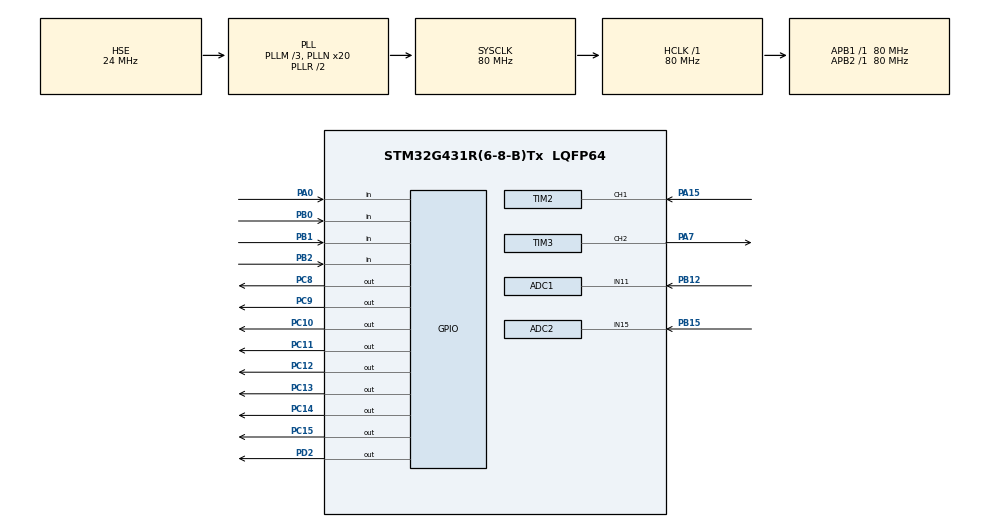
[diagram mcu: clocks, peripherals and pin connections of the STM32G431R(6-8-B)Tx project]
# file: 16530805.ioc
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ADC1.Channel-0\#ChannelRegularConversion=ADC_CHANNEL_11
ADC1.NbrOfConversionFlag=1
ADC1.OffsetNumber-0\#ChannelRegularConversion=ADC_OFFSET_NONE
ADC1.Rank-0\#ChannelRegularConversion=1
ADC1.SamplingTime-0\#ChannelRegularConversion=ADC_SAMPLETIME_2CYCLES_5
ADC1.master=1
ADC2.Channel-0\#ChannelRegularConversion=ADC_CHANNEL_15
ADC2.NbrOfConversionFlag=1
ADC2.OffsetNumber-0\#ChannelRegularConversion=ADC_OFFSET_NONE
ADC2.Rank-0\#ChannelRegularConversion=1
ADC2.SamplingTime-0\#ChannelRegularConversion=ADC_SAMPLETIME_2CYCLES_5
Mcu.Family=STM32G4
Mcu.Name=STM32G431R(6-8-B)Tx
Mcu.Package=LQFP64
NVIC.PriorityGroup=NVIC_PRIORITYGROUP_4
NVIC.TIM2_IRQn=true\:1\:0\:true\:false\:true\:true\:true\:true
PA0.GPIO_Mode=GPIO_MODE_INPUT
PA0.GPIO_PuPd=GPIO_NOPULL
PA0.Signal=GPIO_Input
PA13.Mode=Serial_Wire
PA13.Signal=SYS_JTMS-SWDIO
PA14.Mode=Serial_Wire
PA14.Signal=SYS_JTCK-SWCLK
PA15.Signal=S_TIM2_CH1
PA7.Signal=S_TIM3_CH2
PB0.GPIO_Mode=GPIO_MODE_INPUT
PB0.GPIO_PuPd=GPIO_NOPULL
PB0.Signal=GPIO_Input
PB1.GPIO_Mode=GPIO_MODE_INPUT
PB1.GPIO_PuPd=GPIO_NOPULL
PB1.Signal=GPIO_Input
PB12.Mode=IN11-Single-Ended
PB12.Signal=ADC1_IN11
PB15.Mode=IN15-Single-Ended
PB15.Signal=ADC2_IN15
PB2.GPIO_Mode=GPIO_MODE_INPUT
PB2.GPIO_PuPd=GPIO_NOPULL
PB2.Signal=GPIO_Input
PC10.GPIO_ModeDefaultOutputPP=GPIO_MODE_OUTPUT_PP
PC10.GPIO_PuPd=GPIO_NOPULL
PC10.GPIO_Speed=GPIO_SPEED_FREQ_LOW
PC10.PinState=GPIO_PIN_SET
PC10.Signal=GPIO_Output
PC11.GPIO_ModeDefaultOutputPP=GPIO_MODE_OUTPUT_PP
PC11.GPIO_PuPd=GPIO_NOPULL
PC11.GPIO_Speed=GPIO_SPEED_FREQ_LOW
PC11.PinState=GPIO_PIN_SET
PC11.Signal=GPIO_Output
PC12.GPIO_ModeDefaultOutputPP=GPIO_MODE_OUTPUT_PP
PC12.GPIO_PuPd=GPIO_NOPULL
PC12.GPIO_Speed=GPIO_SPEED_FREQ_LOW
PC12.PinState=GPIO_PIN_SET
PC12.Signal=GPIO_Output
PC13.GPIO_ModeDefaultOutputPP=GPIO_MODE_OUTPUT_PP
PC13.GPIO_PuPd=GPIO_NOPULL
PC13.GPIO_Speed=GPIO_SPEED_FREQ_LOW
PC13.PinState=GPIO_PIN_SET
PC13.Signal=GPIO_Output
PC14-OSC32_IN.GPIO_ModeDefaultOutputPP=GPIO_MODE_OUTPUT_PP
PC14-OSC32_IN.GPIO_PuPd=GPIO_NOPULL
PC14-OSC32_IN.GPIO_Speed=GPIO_SPEED_FREQ_LOW
PC14-OSC32_IN.PinState=GPIO_PIN_SET
PC14-OSC32_IN.Signal=GPIO_Output
PC15-OSC32_OUT.GPIO_ModeDefaultOutputPP=GPIO_MODE_OUTPUT_PP
PC15-OSC32_OUT.GPIO_PuPd=GPIO_NOPULL
PC15-OSC32_OUT.GPIO_Speed=GPIO_SPEED_FREQ_LOW
PC15-OSC32_OUT.PinState=GPIO_PIN_SET
PC15-OSC32_OUT.Signal=GPIO_Output
PC8.GPIO_ModeDefaultOutputPP=GPIO_MODE_OUTPUT_PP
PC8.GPIO_PuPd=GPIO_NOPULL
PC8.GPIO_Speed=GPIO_SPEED_FREQ_LOW
PC8.PinState=GPIO_PIN_SET
PC8.Signal=GPIO_Output
PC9.GPIO_ModeDefaultOutputPP=GPIO_MODE_OUTPUT_PP
PC9.GPIO_PuPd=GPIO_NOPULL
PC9.GPIO_Speed=GPIO_SPEED_FREQ_LOW
PC9.PinState=GPIO_PIN_SET
PC9.Signal=GPIO_Output
PD2.Signal=GPIO_Output
PF0-OSC_IN.Mode=HSE-External-Oscillator
PF0-OSC_IN.Signal=RCC_OSC_IN
PF1-OSC_OUT.Mode=HSE-External-Oscillator
PF1-OSC_OUT.Signal=RCC_OSC_OUT
ProjectManager.HeapSize=0x200
ProjectManager.StackSize=0x400
ProjectManager.TargetToolchain=MDK-ARM V5.32
RCC.ADC12Freq_Value=80000000
RCC.AHBFreq_Value=80000000
RCC.APB1Freq_Value=80000000
RCC.APB1TimFreq_Value=80000000
RCC.APB2Freq_Value=80000000
RCC.APB2TimFreq_Value=80000000
RCC.CortexFreq_Value=80000000
RCC.EXTERNAL_CLOCK_VALUE=12288000
RCC.HCLKFreq_Value=80000000
RCC.HSE_VALUE=24000000
RCC.HSI48_VALUE=48000000
RCC.HSI_VALUE=16000000
RCC.LSE_VALUE=32768
RCC.PLLM=RCC_PLLM_DIV3
RCC.PLLN=20
RCC.PLLSourceVirtual=RCC_PLLSOURCE_HSE
RCC.SYSCLKFreq_VALUE=80000000
RCC.SYSCLKSource=RCC_SYSCLKSOURCE_PLLCLK
RCC.USBFreq_Value=80000000
RCC.VCOOutputFreq_Value=160000000
SH.S_TIM2_CH1.0=TIM2_CH1,Input_Capture1_from_TI1
SH.S_TIM3_CH2.0=TIM3_CH2,PWM Generation2 CH2
TIM2.Channel-Input_Capture1_from_TI1=TIM_CHANNEL_1
TIM2.ICFilter_CH1=15
TIM2.Prescaler=80-1
TIM3.Channel-PWM\ Generation2\ CH2=TIM_CHANNEL_2
TIM3.Prescaler=80-1
VP_SYS_VS_DBSignals.Mode=DisableDeadBatterySignals
VP_TIM2_VS_ClockSourceINT.Mode=Internal
VP_TIM3_VS_ClockSourceINT.Mode=Internal
board=custom

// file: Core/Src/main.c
/* USER CODE BEGIN Header */
/**
  ******************************************************************************
  * @file           : main.c
  * @brief          : Main program body
  ******************************************************************************
  * @attention
  *
  * Copyright (c) 2025 STMicroelectronics.
  * All rights reserved.
  *
  * This software is licensed under terms that can be found in the LICENSE file
  * in the root directory of this software component.
  * If no LICENSE file comes with this software, it is provided AS-IS.
  *
  ******************************************************************************
  */
/* USER CODE END Header */
#include "main.h"
#include "adc.h"
#include "tim.h"
#include "gpio.h"

/* USER CODE BEGIN Includes */
#include "lcd.h"
#include "myadc.h"
#include "key.h"
#include "led.h"
#include "pulsein.h"
#include "pwmout.h"

#include "string.h"
#include "stdio.h"
/* USER CODE END Includes */

/* USER CODE BEGIN PV */
uint8_t page = 0;
uint8_t line = 0;

uint16_t CF;
uint8_t CD;
uint16_t DF;
uint8_t ST;
char run_time[20];
uint32_t real_time = 0;
uint32_t real_time_h = 0;
uint32_t real_time_m = 0;
uint32_t real_time_s = 0;

uint16_t recd_CF;
uint8_t recd_CD;
uint16_t recd_DF;
uint16_t recd_XF;
char recd_run_time[20] = "00H00M00S";
uint32_t recd_real_time = 0;
uint32_t recd_real_time_h = 0;
uint32_t recd_real_time_m = 0;
uint32_t recd_real_time_s = 0;

uint8_t DS = 1;//%
uint8_t DR = 80;//%
uint16_t FS = 100;//Hz
uint16_t FR = 2000;//Hz

uint8_t para_DS = 1;//%
uint8_t para_DR = 80;//%
uint16_t para_FS = 100;//Hz
uint16_t para_FR = 2000;//Hz

/* USER CODE END PV */

void SystemClock_Config(void);

/* USER CODE BEGIN 0 */
void UI_Proc(void);
void KEY_Proc(void);
void ADC_Proc(void);
void LED_Proc(void);
void TIM_Proc(void);
void PWM_Proc(void);
/* USER CODE END 0 */

int main(void)
{

  /* MCU Configuration--------------------------------------------------------*/

  /* Reset of all peripherals, Initializes the Flash interface and the Systick. */
  HAL_Init();

  /* Configure the system clock */
  SystemClock_Config();

  /* Initialize all configured peripherals */
  MX_GPIO_Init();
  MX_ADC1_Init();
  MX_ADC2_Init();
  MX_TIM2_Init();
  MX_TIM3_Init();
  /* USER CODE BEGIN 2 */
    LCD_Init();
    LCD_SetBackColor(Black);
    LCD_SetTextColor(White);
    LCD_Clear(Black);

    HAL_ADCEx_Calibration_Start(&hadc1, ADC_SINGLE_ENDED);
    HAL_ADCEx_Calibration_Start(&hadc2, ADC_SINGLE_ENDED);

    HAL_TIM_IC_Start_IT(&htim2, TIM_CHANNEL_1);
    HAL_TIM_PWM_Start(&htim3,TIM_CHANNEL_2);

  /* USER CODE END 2 */

  /* Infinite loop */
  /* USER CODE BEGIN WHILE */
  while (1)
  {
      ADC_Proc();
      LED_Proc();
      KEY_Proc();
      UI_Proc();
      TIM_Proc();
      PWM_Proc();

    /* USER CODE END WHILE */

  }
}

void SystemClock_Config(void)
{
  RCC_OscInitTypeDef RCC_OscInitStruct = {0};
  RCC_ClkInitTypeDef RCC_ClkInitStruct = {0};

  /** Configure the main internal regulator output voltage
  */
  HAL_PWREx_ControlVoltageScaling(PWR_REGULATOR_VOLTAGE_SCALE1);

  /** Initializes the RCC Oscillators according to the specified parameters
  * in the RCC_OscInitTypeDef structure.
  */
  RCC_OscInitStruct.OscillatorType = RCC_OSCILLATORTYPE_HSE;
  RCC_OscInitStruct.HSEState = RCC_HSE_ON;
  RCC_OscInitStruct.PLL.PLLState = RCC_PLL_ON;
  RCC_OscInitStruct.PLL.PLLSource = RCC_PLLSOURCE_HSE;
  RCC_OscInitStruct.PLL.PLLM = RCC_PLLM_DIV3;
  RCC_OscInitStruct.PLL.PLLN = 20;
  RCC_OscInitStruct.PLL.PLLP = RCC_PLLP_DIV2;
  RCC_OscInitStruct.PLL.PLLQ = RCC_PLLQ_DIV2;
  RCC_OscInitStruct.PLL.PLLR = RCC_PLLR_DIV2;
  if (HAL_RCC_OscConfig(&RCC_OscInitStruct) != HAL_OK)
  {
    Error_Handler();
  }

  /** Initializes the CPU, AHB and APB buses clocks
  */
  RCC_ClkInitStruct.ClockType = RCC_CLOCKTYPE_HCLK|RCC_CLOCKTYPE_SYSCLK
                              |RCC_CLOCKTYPE_PCLK1|RCC_CLOCKTYPE_PCLK2;
  RCC_ClkInitStruct.SYSCLKSource = RCC_SYSCLKSOURCE_PLLCLK;
  RCC_ClkInitStruct.AHBCLKDivider = RCC_SYSCLK_DIV1;
  RCC_ClkInitStruct.APB1CLKDivider = RCC_HCLK_DIV1;
  RCC_ClkInitStruct.APB2CLKDivider = RCC_HCLK_DIV1;

  if (HAL_RCC_ClockConfig(&RCC_ClkInitStruct, FLASH_LATENCY_2) != HAL_OK)
  {
    Error_Handler();
  }
}

/* USER CODE BEGIN 4 */
void UI_Proc(void){
    char buff[20];

    switch (page)
    {
    	case 0:
            LCD_DisplayStringLine(Line1, (u8*)"       PWM     ");

            sprintf(buff, "   CF=%dHz       ",CF);
            LCD_DisplayStringLine(Line3, (u8*)buff);

            sprintf(buff, "   CD=%d%%       ",CD);
            LCD_DisplayStringLine(Line4, (u8*)buff);

            sprintf(buff, "   DF=%dHz       ",DF);
            LCD_DisplayStringLine(Line5, (u8*)buff);

            sprintf(buff, "   ST=%s       ",ST == 0? "UNLOCK" :"UNLOCK");
            LCD_DisplayStringLine(Line6, (u8*)buff);

            sprintf(run_time,"%02dH%02dM%02dS",real_time_h,real_time_m,real_time_s);

            sprintf(buff, "   %s       ",run_time);
            LCD_DisplayStringLine(Line7, (u8*)buff);

    		break;
    	case 1:
            LCD_DisplayStringLine(Line1, (u8*)"       RECD     ");

            sprintf(buff, "   CF=%dHz       ",recd_CF);
            LCD_DisplayStringLine(Line3, (u8*)buff);

            sprintf(buff, "   CD=%d%%       ",recd_CD);
            LCD_DisplayStringLine(Line4, (u8*)buff);

            sprintf(buff, "   DF=%dHz       ",recd_DF);
            LCD_DisplayStringLine(Line5, (u8*)buff);

            sprintf(buff, "   XF=%d       ",recd_XF);
            LCD_DisplayStringLine(Line6, (u8*)buff);

            sprintf(buff, "   %s       ",recd_run_time);
            LCD_DisplayStringLine(Line7, (u8*)buff);

    		break;
    	default:
            LCD_DisplayStringLine(Line1, (u8*)"       PARA     ");

            sprintf(buff, "   DS=%d%%       ",para_DS);
            LCD_DisplayStringLine(Line3, (u8*)buff);

            sprintf(buff, "   DR=%d%%       ",para_DR);
            LCD_DisplayStringLine(Line4, (u8*)buff);

            sprintf(buff, "   FS=%dHz       ",para_FS);
            LCD_DisplayStringLine(Line5, (u8*)buff);

            sprintf(buff, "   FR=%dHz       ",para_FR);
            LCD_DisplayStringLine(Line6, (u8*)buff);

    		break;
    }
}
void KEY_Proc(void){
    KEY_Scan();
    uint8_t key = KEY_GetFlag();

    switch (page)
    {
    	case 0:
            if(key == 1) {

            }
            else if(key == 2) {
                ST ^= 1;
            }
            else if(key == 3) {

            }
            else if(key == 4) {

            }
            else if(key == 5) {
                real_time = 0;
            }

    		break;
    	case 1:
            if(key == 1) {

            }
            else if(key == 2) {

            }
            else if(key == 3) {

            }
            else if(key == 4) {

            }
    		break;
    	default:
            if(key == 1) {

            }
            else if(key == 2) {
                if(++line == 4) line = 0;
            }
            else if(key == 3) {
                switch (line)
                {
                	case 0:
                        para_DS ++;
                		break;
                	case 1:
                        para_DR += 10;
                		break;
                	case 2:
                        para_FS += 100;
                		break;
                	case 3:
                        para_FR += 1000;
                		break;
                }
            }
            else if(key == 4) {
                switch (line)
                {
                	case 0:
                        para_DS --;
                		break;
                	case 1:
                        para_DR -= 10;
                		break;
                	case 2:
                        para_FS -= 100;
                		break;
                	case 3:
                        para_FR -= 1000;
                		break;
                }
            }
    		break;
    }
    if(key == 1) {
        if(para_DS >= para_DR || para_FS >= para_FR || para_DS < 1 || para_FS < 1 || para_DR > 100){
            para_DS = DS;
            para_FS = FS;
            para_FR = FR;
            para_DR = DR;
        }else {
            DS = para_DS;
            FS = para_FS;
            FR = para_FR;
            DR = para_DR;
        }
        LCD_Clear(Black);
        if(++page == 3) page = 0;
        line = 0;

    }
}

void ADC_Proc(void){
    ADC_Scan();
    if(!ST) {
        uint16_t VB = 4095 * FS / (FR - 1000);
        uint16_t n2 = vol.vol1 / VB;
        CF = 1000 + n2 * FS;

        uint16_t n1 = (DR - 10) / DS ;
        uint16_t VA = 4095 / (n1 + 1);
        uint16_t weiz = vol.vol2 / VA;

        CD = 10 + weiz * DS;
        if(CD > DR) CD = DR;
    }
}
void LED_Proc(void){
    if(page == 0) LED_Set(1);
    else LED_Reset(1);
    if(page == 1) LED_Set(2);
    else LED_Reset(2);
    if(page == 2) LED_Set(3);
    else LED_Reset(3);

    LED_Updata();
}
void TIM_Proc(void){
    real_time_s = real_time / 1000 % 60;
    real_time_m = real_time / 1000 / 60 % 60;
    real_time_h = real_time / 1000 / 60 / 60 % 24;

}
void PWM_Proc(void){
    static uint8_t flag = 0;
    pwm.pulse = CD;
    pwm.freq = CF;
    PWM_Updata();
    DF = pul.freq;

    uint16_t gas = CF > DF? (CF - DF) :(DF - CF);
    if(gas > 1000 && flag == 0) {
        recd_CD = CD;
        recd_CF = CF;
        recd_DF = DF;
        recd_XF = gas;
        strcpy(recd_run_time, run_time);
        flag = 1;
    }
    else if(gas <= 1000){
        flag = 0;
    }
}
/* USER CODE END 4 */

void Error_Handler(void)
{
  __disable_irq();
  while (1)
  {
  }
}
